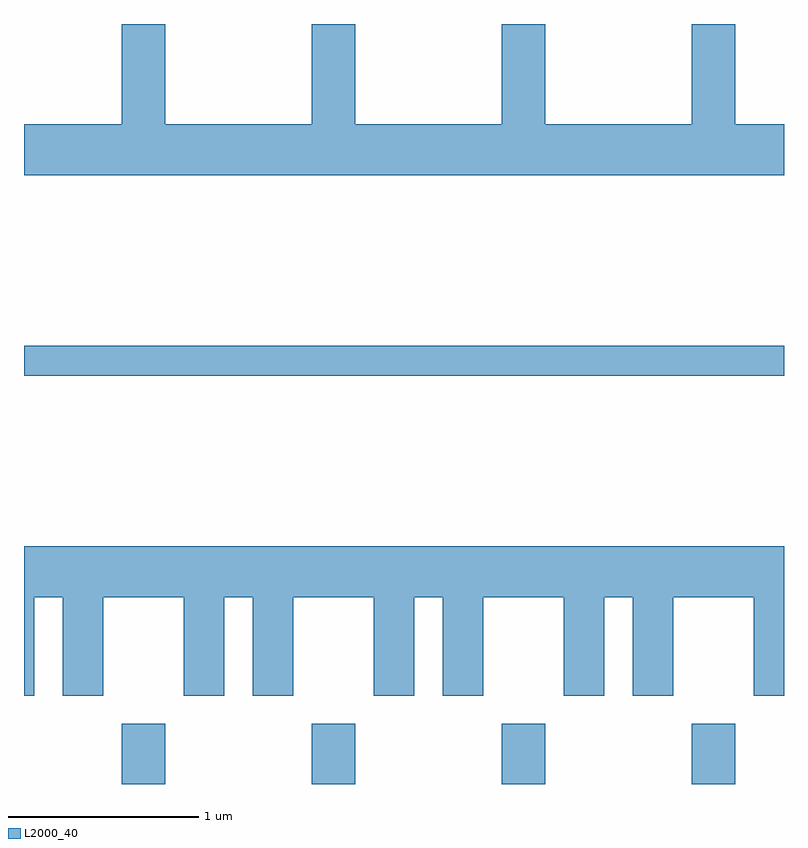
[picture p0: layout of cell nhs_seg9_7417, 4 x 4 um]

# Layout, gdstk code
import gdstk
lib = gdstk.Library(unit=1e-6, precision=1e-09)
def R(c, l, rs):  # rectangles x0, y0, x1, y1
    for r in rs: c.add(gdstk.rectangle(r[:2], r[2:], *l))
def A(c, l, x, y, w, h, nx, ny, dx, dy):  # array of equal rectangles
    R(c, l, [(x+i*dx, y+j*dy, x+i*dx+w, y+j*dy+h) for i in range(nx) for j in range(ny)])
def P(c, l, *ps):  # polygons
    for p in ps: c.add(gdstk.Polygon(p, *l))
L2000_40 = (2000, 40)

nhs_seg9_7417 = lib.new_cell('nhs_seg9_7417')
A(nhs_seg9_7417, L2000_40, 406.126, 1946.432, 0.228, 0.317, 4, 1, 1, 0)
R(nhs_seg9_7417, L2000_40, [(405.611,1948.581,409.611,1948.739)])
P(nhs_seg9_7417, L2000_40, [(409.611,1949.904),(409.354,1949.904),(409.354,1950.432),(409.126,1950.432),(409.126,1949.904),(408.354,1949.904),(408.354,1950.432),(408.126,1950.432),(408.126,1949.904),(407.354,1949.904),(407.354,1950.432),(407.126,1950.432),(407.126,1949.904),(406.354,1949.904),(406.354,1950.432),(406.126,1950.432),(406.126,1949.904),(405.611,1949.904),(405.611,1949.636),(409.611,1949.636)],
  [(405.664,1947.416),(405.816,1947.416),(405.816,1946.896),(406.029,1946.896),(406.029,1947.416),(406.451,1947.416),(406.451,1946.896),(406.664,1946.896),(406.664,1947.416),(406.816,1947.416),(406.816,1946.896),(407.029,1946.896),(407.029,1947.416),(407.451,1947.416),(407.451,1946.896),(407.664,1946.896),(407.664,1947.416),(407.816,1947.416),(407.816,1946.896),(408.029,1946.896),(408.029,1947.416),(408.451,1947.416),(408.451,1946.896),(408.664,1946.896),(408.664,1947.416),(408.816,1947.416),(408.816,1946.896),(409.029,1946.896),(409.029,1947.416),(409.451,1947.416),(409.451,1946.896),(409.611,1946.896),(409.611,1947.684),(405.611,1947.684),(405.611,1946.896),(405.664,1946.896)])

lib.write_gds('nhs_seg9_7417.gds')
